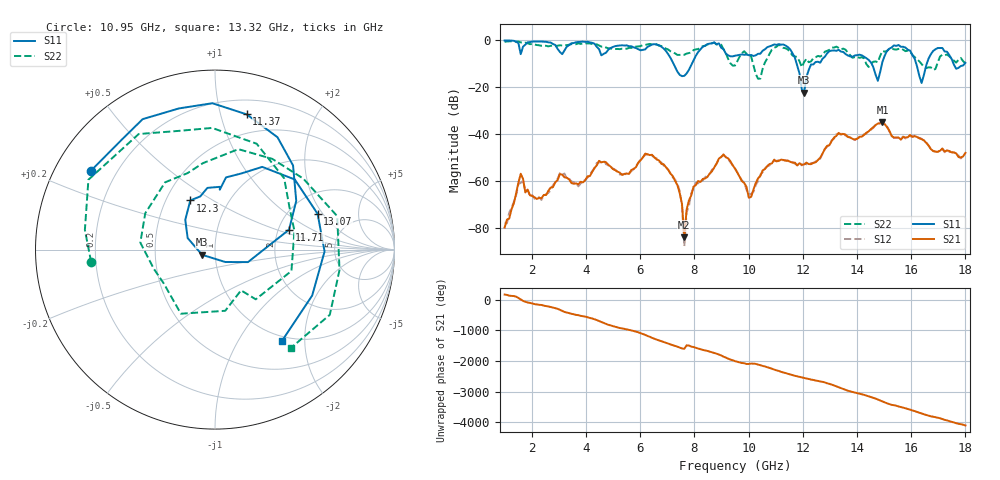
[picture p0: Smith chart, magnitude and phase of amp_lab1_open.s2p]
!Agilent Technologies,E8362C,MY49020251,A.08.50.10
!Agilent E8362C: A.08.50.10
!Date: Wednesday, April 06, 2016 08:53:26
!Correction: S11(Full 2 Port(1,2))
!S21(Full 2 Port(1,2))
!S12(Full 2 Port(1,2))
!S22(Full 2 Port(1,2))
!S2P File: Measurements: S11, S21, S12, S22:
# Hz S  dB  R 50
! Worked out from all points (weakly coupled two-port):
!   201 points, 1 GHz to 18 GHz, reference 50 ohm
!   highest |S21| = -34.98 dB at 14.94 GHz (marker M1); lowest = -83.8 dB at 7.63 GHz (marker M2)
!   lowest |S11| = -22.2 dB at 12.05 GHz (marker M3), VSWR 1.17, Z = 43.2 - j2.51 ohm
!   |S11| at or under -10 dB: 7.233 GHz to 7.907 GHz (674.4 MHz wide, 8.91 % of centre); 11.78 GHz to 12.41 GHz (634.5 MHz wide, 5.25 % of centre); 16.19 GHz to 16.57 GHz (386 MHz wide, 2.36 % of centre) (the widest 3 of 5)
!   |S22| runs from -16.3 to -0.4 dB; largest |S21 - S12| = 0.0009
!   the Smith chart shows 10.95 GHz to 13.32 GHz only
!   S11 on the Smith chart (normalised r, x): 10.95 GHz: 0.11, +0.29; 11.37 GHz: 0.32, +1.21; 11.71 GHz: 2.29, +0.62; 12.3 GHz: 0.66, +0.40; 13.07 GHz: 2.84, +1.79; 13.32 GHz: 0.93, -1.56
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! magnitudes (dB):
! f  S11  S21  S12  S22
! 1 GHz  0.0  -79.7  -77.6  -0.6
! 1.595 GHz  -5.9  -56.8  -60.7  -0.8
! 3.89 GHz  -0.5  -60.5  -60.0  -1.4
! 6.695 GHz  -2.0  -51.1  -51.6  -2.3
! 7.63 GHz  -15.1  -83.8  -87.7  -6.1
! 8.055 GHz  -6.5  -61.7  -60.7  -3.8
! 9.5 GHz  -6.5  -54.6  -54.7  -10.7
! 10.01 GHz  -6.3  -67.0  -65.6  -5.9
! 10.44 GHz  -5.7  -57.8  -57.2  -16.3
! 10.95 GHz  -1.7  -50.8  -51.5  -3.2
! 11.37 GHz  -2.2  -51.3  -51.0  -3.4
! 11.71 GHz  -7.4  -52.1  -52.6  -6.8
! 12.05 GHz  -22.2  -52.9  -52.5  -9.2
! 12.3 GHz  -10.3  -52.7  -52.3  -8.9
! 12.39 GHz  -10.2  -52.2  -52.2  -7.6
! 13.07 GHz  -4.4  -42.8  -42.6  -3.0
! 13.32 GHz  -4.0  -39.4  -39.9  -3.2
! 14.94 GHz  -9.1  -35.0  -34.9  -4.5
! 15.2 GHz  -3.5  -38.5  -38.8  -3.5
! 16.39 GHz  -18.1  -42.1  -41.9  -10.1
! 16.98 GHz  -3.2  -47.5  -47.6  -9.4
! 18 GHz  -9.6  -48.0  -48.1  -9.7
